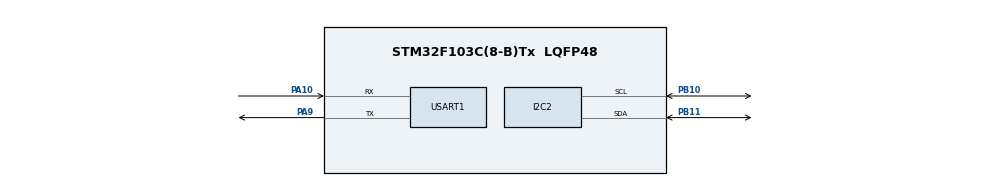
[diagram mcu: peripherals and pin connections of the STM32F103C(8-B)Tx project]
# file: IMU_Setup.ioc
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Mcu.Family=STM32F1
Mcu.Name=STM32F103C(8-B)Tx
Mcu.Package=LQFP48
NVIC.PriorityGroup=NVIC_PRIORITYGROUP_4
PA10.Mode=Asynchronous
PA10.Signal=USART1_RX
PA13.Mode=JTAG_5_pins
PA13.Signal=SYS_JTMS-SWDIO
PA14.Mode=JTAG_5_pins
PA14.Signal=SYS_JTCK-SWCLK
PA15.Mode=JTAG_5_pins
PA15.Signal=SYS_JTDI
PA9.Mode=Asynchronous
PA9.Signal=USART1_TX
PB10.Mode=I2C
PB10.Signal=I2C2_SCL
PB11.Mode=I2C
PB11.Signal=I2C2_SDA
PB3.Mode=JTAG_5_pins
PB3.Signal=SYS_JTDO-TRACESWO
PB4.Mode=JTAG_5_pins
PB4.Signal=SYS_NJTRST
ProjectManager.HeapSize=0x200
ProjectManager.StackSize=0x400
ProjectManager.TargetToolchain=CMake
RCC.APB1Freq_Value=8000000
RCC.APB2Freq_Value=8000000
USART1.VirtualMode=VM_ASYNC
board=custom

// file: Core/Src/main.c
/* USER CODE BEGIN Header */
/**
  ******************************************************************************
  * @file           : main.c
  * @brief          : Main program body
  ******************************************************************************
  * @attention
  *
  * Copyright (c) 2025 STMicroelectronics.
  * All rights reserved.
  *
  * This software is licensed under terms that can be found in the LICENSE file
  * in the root directory of this software component.
  * If no LICENSE file comes with this software, it is provided AS-IS.
  *
  ******************************************************************************
  */
/* USER CODE END Header */
#include "main.h"
#include "stdio.h"
#include "stm32f1xx_hal_def.h"
#include "stm32f1xx_hal_uart.h"
#include "string.h"
#include <stdint.h>

I2C_HandleTypeDef hi2c2;

UART_HandleTypeDef huart1;

void SystemClock_Config(void);
static void MX_GPIO_Init(void);
static void MX_I2C2_Init(void);
static void MX_USART1_UART_Init(void);

/* USER CODE BEGIN 0 */
enum MPU_6050{
  MPU_ADDRESS = 0x68 << 1,

  MPU_REGISTER_GYRO = 0x1B,
  FS_GYRO_250 = 0x00,
  FS_GYRO_500 = 0x08,
  FS_GYRO_1000 = 0x10,
  FS_GYRO_2000 = 0x18,

  MPU_REGISTER_ACC = 28,
  FS_ACC_2G = 0,
  FS_ACC_4G = 8,
  FS_ACC_8G = 9,
  FS_ACC_16G = 10,

  MPU_REGISTER_PWR = 0x6B,
  EXIT_SLEEP = 0x00,

  ACC_REG_XDATA = 59,
  ACC_REG_YDATA = 61,
  ACC_REG_ZDATA = 63,

  GYRO_REG_XDATA = 0x43,
  GYRO_REG_YDATA = 0x45,
  GYRO_REG_ZDATA = 0x47,

  ACC_REG_CONFIG = 28,
  GYRO_REG_CONFIG = 0x1B
};

static void ACCEL_CONFIG(int *watch){
  uint8_t config = FS_ACC_2G;
  if(HAL_I2C_Mem_Write(&hi2c2, MPU_ADDRESS, ACC_REG_CONFIG, 1, &config, 1, 100) == HAL_OK){
    *watch *= 1;
  } else{
    *watch *= 0;
  }
  HAL_Delay(100);
}
static void GYRO_CONFIG(int *watch){
  uint8_t config = FS_GYRO_250;
  if(HAL_I2C_Mem_Write(&hi2c2, MPU_ADDRESS, GYRO_REG_CONFIG, 1, &config, 1, 100) == HAL_OK){
    *watch *= 1;
  } else {
    *watch *=0;
  }
  HAL_Delay(100);
}
/* USER CODE END 0 */

int main(void)
{

  /* USER CODE BEGIN 1 */
  enum MPU_6050 MPU;
  /* USER CODE END 1 */

  /* MCU Configuration--------------------------------------------------------*/

  /* Reset of all peripherals, Initializes the Flash interface and the Systick. */
  HAL_Init();

  /* Configure the system clock */
  SystemClock_Config();

  /* Initialize all configured peripherals */
  MX_GPIO_Init();
  MX_I2C2_Init();
  MX_USART1_UART_Init();
  /* USER CODE BEGIN 2 */
  HAL_I2C_Init(&hi2c2);

  HAL_StatusTypeDef ret = HAL_I2C_IsDeviceReady(&hi2c2, MPU_ADDRESS, 1, 100);

  int watch= 1;

  if(ret == HAL_OK){
    watch *= 1;
  } else {
    watch *= 0;
  }
  /* USER CODE END 2 */

  /* Infinite loop */
  /* USER CODE BEGIN WHILE */
  //MPU ADDRESS: 0b1101000;

  //GYROSCOPE CONFIG
  uint8_t temp_data=  FS_GYRO_250;
  ret = HAL_I2C_Mem_Write(&hi2c2, MPU_ADDRESS, MPU_REGISTER_GYRO, 1, &temp_data, 1, 100);

  if(ret == HAL_OK){
    watch *= 1;
  } else {
    watch *= 0;
  }

  temp_data=  EXIT_SLEEP;
  //POWER CONFIG
  ret = HAL_I2C_Mem_Write(&hi2c2, MPU_ADDRESS, MPU_REGISTER_PWR, 1, &temp_data, 1, 100);

  if(ret == HAL_OK){
    watch *= 1;
  } else {
    watch *= 0;
  }

  GYRO_CONFIG(&watch);
  int8_t gyro_data[6];
  float gyro_val[3];
  while (1)
  {
    /* USER CODE END WHILE */
    HAL_I2C_Mem_Read(&hi2c2, MPU_ADDRESS, GYRO_REG_XDATA, 1,  gyro_data, 6,  100);
    int16_t gx = (gyro_data[0] << 8) + gyro_data[1];
    int16_t gy = (gyro_data[2] << 8) + gyro_data[3];
    int16_t gz = (gyro_data[4] << 8) + gyro_data[5];
    gyro_val[0] = gx / 131.0f;
    gyro_val[1] = gy / 131.0f;
    gyro_val[2] = gz / 131.0f;
    HAL_Delay(100);
  }
}

void SystemClock_Config(void)
{
  RCC_OscInitTypeDef RCC_OscInitStruct = {0};
  RCC_ClkInitTypeDef RCC_ClkInitStruct = {0};

  /** Initializes the RCC Oscillators according to the specified parameters
  * in the RCC_OscInitTypeDef structure.
  */
  RCC_OscInitStruct.OscillatorType = RCC_OSCILLATORTYPE_HSI;
  RCC_OscInitStruct.HSIState = RCC_HSI_ON;
  RCC_OscInitStruct.HSICalibrationValue = RCC_HSICALIBRATION_DEFAULT;
  RCC_OscInitStruct.PLL.PLLState = RCC_PLL_NONE;
  if (HAL_RCC_OscConfig(&RCC_OscInitStruct) != HAL_OK)
  {
    Error_Handler();
  }

  /** Initializes the CPU, AHB and APB buses clocks
  */
  RCC_ClkInitStruct.ClockType = RCC_CLOCKTYPE_HCLK|RCC_CLOCKTYPE_SYSCLK
                              |RCC_CLOCKTYPE_PCLK1|RCC_CLOCKTYPE_PCLK2;
  RCC_ClkInitStruct.SYSCLKSource = RCC_SYSCLKSOURCE_HSI;
  RCC_ClkInitStruct.AHBCLKDivider = RCC_SYSCLK_DIV1;
  RCC_ClkInitStruct.APB1CLKDivider = RCC_HCLK_DIV1;
  RCC_ClkInitStruct.APB2CLKDivider = RCC_HCLK_DIV1;

  if (HAL_RCC_ClockConfig(&RCC_ClkInitStruct, FLASH_LATENCY_0) != HAL_OK)
  {
    Error_Handler();
  }
}

static void MX_I2C2_Init(void)
{

  hi2c2.Instance = I2C2;
  hi2c2.Init.ClockSpeed = 100000;
  hi2c2.Init.DutyCycle = I2C_DUTYCYCLE_2;
  hi2c2.Init.OwnAddress1 = 0;
  hi2c2.Init.AddressingMode = I2C_ADDRESSINGMODE_7BIT;
  hi2c2.Init.DualAddressMode = I2C_DUALADDRESS_DISABLE;
  hi2c2.Init.OwnAddress2 = 0;
  hi2c2.Init.GeneralCallMode = I2C_GENERALCALL_DISABLE;
  hi2c2.Init.NoStretchMode = I2C_NOSTRETCH_DISABLE;
  if (HAL_I2C_Init(&hi2c2) != HAL_OK)
  {
    Error_Handler();
  }

}

static void MX_USART1_UART_Init(void)
{

  huart1.Instance = USART1;
  huart1.Init.BaudRate = 115200;
  huart1.Init.WordLength = UART_WORDLENGTH_8B;
  huart1.Init.StopBits = UART_STOPBITS_1;
  huart1.Init.Parity = UART_PARITY_NONE;
  huart1.Init.Mode = UART_MODE_TX_RX;
  huart1.Init.HwFlowCtl = UART_HWCONTROL_NONE;
  huart1.Init.OverSampling = UART_OVERSAMPLING_16;
  if (HAL_UART_Init(&huart1) != HAL_OK)
  {
    Error_Handler();
  }

}

static void MX_GPIO_Init(void)
{

  /* GPIO Ports Clock Enable */
  __HAL_RCC_GPIOB_CLK_ENABLE();
  __HAL_RCC_GPIOA_CLK_ENABLE();

}

void Error_Handler(void)
{
  __disable_irq();
  while (1)
  {
  }
}
